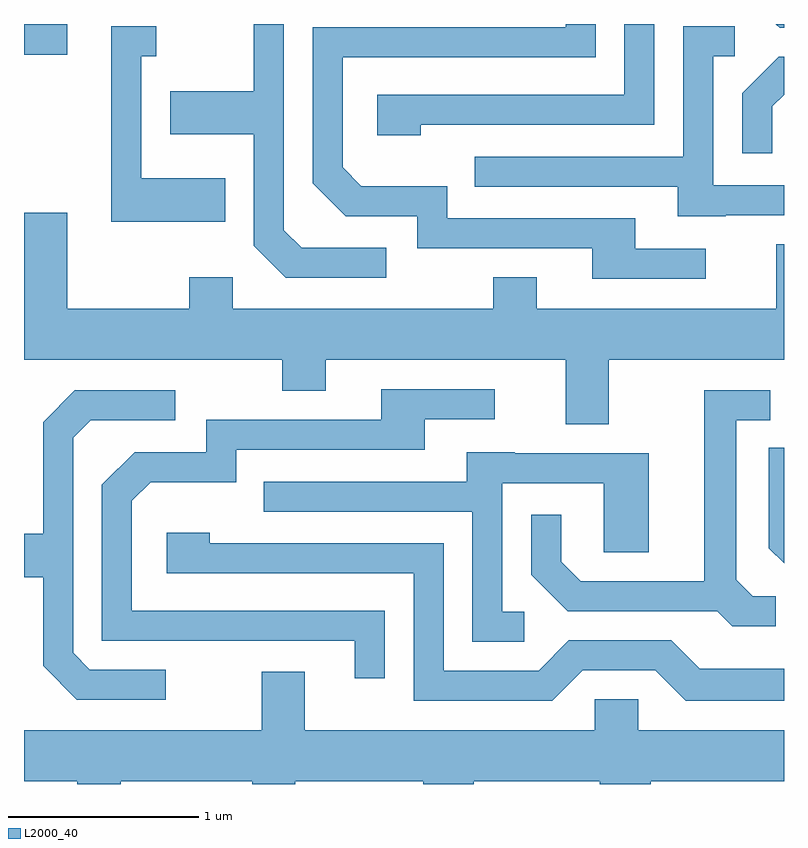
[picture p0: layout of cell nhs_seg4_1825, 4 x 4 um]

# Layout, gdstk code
import gdstk
lib = gdstk.Library(unit=1e-6, precision=1e-09)
def R(c, l, rs):  # rectangles x0, y0, x1, y1
    for r in rs: c.add(gdstk.rectangle(r[:2], r[2:], *l))
def P(c, l, *ps):  # polygons
    for p in ps: c.add(gdstk.Polygon(p, *l))
L2000_40 = (2000, 40)

nhs_seg4_1825 = lib.new_cell('nhs_seg4_1825')
R(nhs_seg4_1825, L2000_40, [(237.611,1371.821,237.839,1371.982)])
P(nhs_seg4_1825, L2000_40, [(241.198,1370.799),(240.829,1370.799),(240.829,1370.959),(239.839,1370.959),(239.839,1371.129),(239.387,1371.129),(239.289,1371.227),(239.289,1371.806),(240.619,1371.806),(240.619,1371.982),(240.461,1371.982),(240.461,1371.964),(239.131,1371.964),(239.131,1371.144),(239.304,1370.971),(239.681,1370.971),(239.681,1370.801),(240.601,1370.801),(240.601,1370.641),(241.198,1370.641)],
  [(241.611,1371.982),(241.568,1371.982),(241.589,1371.961),(241.611,1371.961)],
  [(239.699,1371.451),(240.929,1371.451),(240.929,1371.982),(240.771,1371.982),(240.771,1371.609),(239.471,1371.609),(239.471,1371.396),(239.699,1371.396)],
  [(239.518,1370.804),(239.072,1370.804),(238.979,1370.897),(238.979,1371.982),(238.821,1371.982),(238.821,1371.629),(238.381,1371.629),(238.381,1371.401),(238.821,1371.401),(238.821,1370.814),(238.989,1370.646),(239.518,1370.646)],
  [(241.305,1370.976),(241.611,1370.976),(241.611,1371.134),(241.239,1371.134),(241.239,1371.811),(241.353,1371.811),(241.353,1371.969),(241.081,1371.969),(241.081,1371.284),(239.983,1371.284),(239.983,1371.126),(241.051,1371.126),(241.051,1370.971),(241.305,1370.971)],
  [(238.669,1371.169),(238.229,1371.169),(238.229,1371.811),(238.308,1371.811),(238.308,1371.969),(238.071,1371.969),(238.071,1370.941),(238.669,1370.941)],
  [(241.549,1371.549),(241.611,1371.61),(241.611,1371.809),(241.584,1371.809),(241.391,1371.617),(241.391,1371.303),(241.549,1371.303)],
  [(240.689,1370.216),(241.611,1370.216),(241.611,1370.824),(241.571,1370.824),(241.571,1370.484),(240.309,1370.484),(240.309,1370.649),(240.081,1370.649),(240.081,1370.484),(238.709,1370.484),(238.709,1370.649),(238.481,1370.649),(238.481,1370.484),(237.839,1370.484),(237.839,1370.989),(237.611,1370.989),(237.611,1370.216),(238.971,1370.216),(238.971,1370.051),(239.199,1370.051),(239.199,1370.216),(240.461,1370.216),(240.461,1369.876),(240.689,1369.876)],
  [(239.509,1368.894),(238.179,1368.894),(238.179,1369.474),(238.277,1369.571),(238.729,1369.571),(238.729,1369.741),(239.719,1369.741),(239.719,1369.901),(240.088,1369.901),(240.088,1370.059),(239.491,1370.059),(239.491,1369.899),(238.571,1369.899),(238.571,1369.729),(238.194,1369.729),(238.021,1369.557),(238.021,1368.736),(239.351,1368.736),(239.351,1368.538),(239.509,1368.538)],
  [(238.358,1368.584),(237.957,1368.584),(237.869,1368.672),(237.869,1369.804),(237.962,1369.896),(238.408,1369.896),(238.408,1370.054),(237.879,1370.054),(237.711,1369.887),(237.711,1369.299),(237.611,1369.299),(237.611,1369.071),(237.711,1369.071),(237.711,1368.604),(237.889,1368.426),(238.358,1368.426)],
  [(241.568,1368.969),(241.447,1368.969),(241.359,1369.057),(241.359,1369.896),(241.538,1369.896),(241.538,1370.054),(241.191,1370.054),(241.191,1369.049),(240.542,1369.049),(240.439,1369.152),(240.439,1369.398),(240.281,1369.398),(240.281,1369.084),(240.474,1368.891),(241.259,1368.891),(241.339,1368.811),(241.568,1368.811)],
  [(241.611,1369.753),(241.531,1369.753),(241.531,1369.224),(241.611,1369.144)],
  [(240.243,1368.889),(240.129,1368.889),(240.129,1369.566),(240.661,1369.566),(240.661,1369.201),(240.899,1369.201),(240.899,1369.724),(240.195,1369.724),(240.195,1369.729),(239.941,1369.729),(239.941,1369.574),(238.873,1369.574),(238.873,1369.416),(239.971,1369.416),(239.971,1368.731),(240.243,1368.731)],
  [(240.552,1368.581),(240.934,1368.581),(241.094,1368.421),(241.611,1368.421),(241.611,1368.589),(241.167,1368.589),(241.017,1368.739),(240.479,1368.739),(240.319,1368.579),(239.819,1368.579),(239.819,1369.249),(238.589,1369.249),(238.589,1369.304),(238.361,1369.304),(238.361,1369.091),(239.661,1369.091),(239.661,1368.421),(240.392,1368.421)],
  [(238.119,1367.996),(238.811,1367.996),(238.811,1367.982),(239.039,1367.982),(239.039,1367.996),(239.711,1367.996),(239.711,1367.982),(239.979,1367.982),(239.979,1367.996),(240.641,1367.996),(240.641,1367.982),(240.909,1367.982),(240.909,1367.996),(241.611,1367.996),(241.611,1368.264),(240.844,1368.264),(240.844,1368.429),(240.616,1368.429),(240.616,1368.264),(239.089,1368.264),(239.089,1368.574),(238.861,1368.574),(238.861,1368.264),(237.611,1368.264),(237.611,1367.996),(237.891,1367.996),(237.891,1367.982),(238.119,1367.982)])

lib.write_gds('nhs_seg4_1825.gds')
